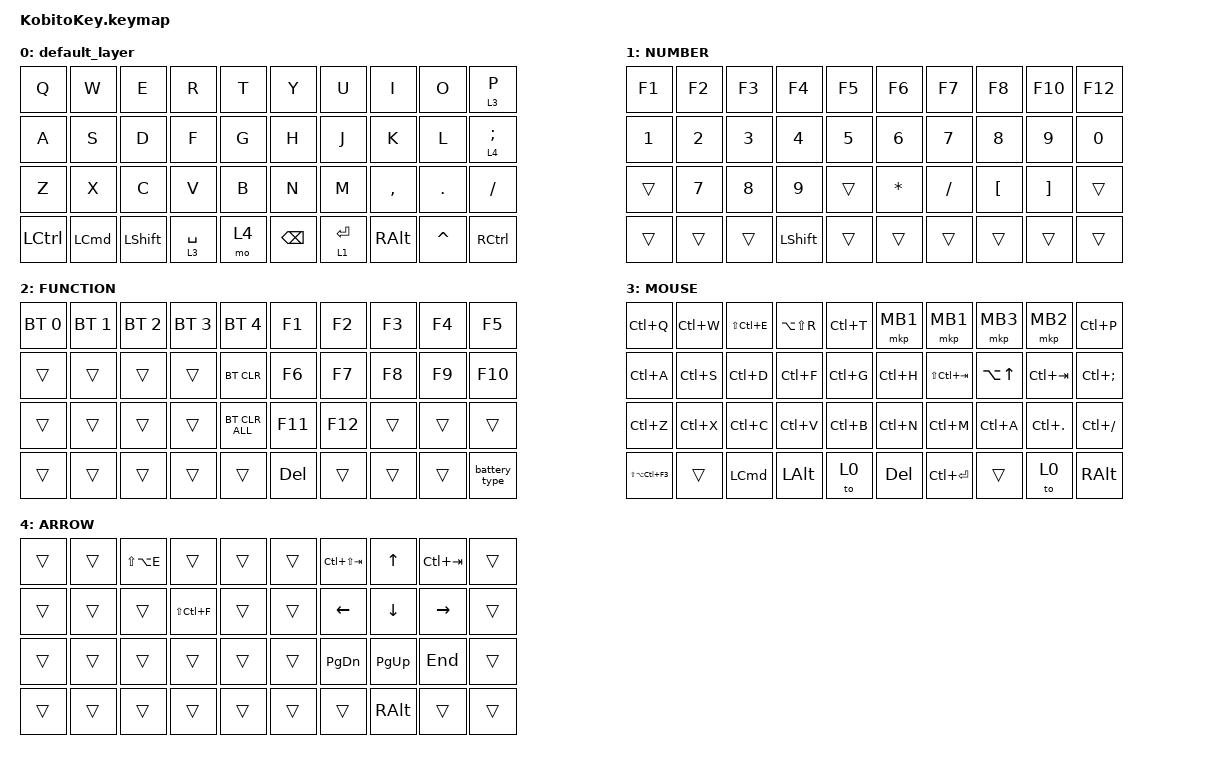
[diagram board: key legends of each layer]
#include <input/processors.dtsi>
#include <behaviors.dtsi>
#include <dt-bindings/zmk/bt.h>
#include <dt-bindings/zmk/keys.h>
#include <dt-bindings/zmk/pointing.h>

// OS設定を日本語キーボードのまま使用するための変換定義

#define JP_DQUOTE       AT                // "
#define JP_AMPERSAND    CARET             // &
#define JP_QUOTE        AMPERSAND         // '
#define JP_EQUAL        UNDER             // =
#define JP_CARET        EQUAL             // ^
#define JP_YEN          0x89              // ¥
#define JP_PLUS         COLON             // +
#define JP_TILDE        PLUS              // ~
#define JP_PIPE         LS(0x89)          // |
#define JP_AT           LEFT_BRACKET      // @
#define JP_COLON        SINGLE_QUOTE      // :
#define JP_ASTERISK     DOUBLE_QUOTES     // *
#define JP_BACKQUOTE    LEFT_BRACE        // `
#define JP_UNDERSCORE   LS(0x87)          // _
#define JP_LBRACKET     RIGHT_BRACKET     // [
#define JP_RBRACKET     BACKSLASH         // ]
#define JP_LPAREN       ASTERISK          // (
#define JP_RPAREN       LEFT_PARENTHESIS  // )
#define JP_LBRACE       RIGHT_BRACE       // {
#define JP_RBRACE       PIPE              // }
#define JP_KANA         LANGUAGE_1        // かな
#define JP_EISU         LANGUAGE_2        // 英数
#define JP_HANZEN       GRAVE             // 半角/全角

/ {
    combos {
        compatible = "zmk,combos";

        combo_eisu {
            timeout-ms = <50>;
            key-positions = <12 13>;
            bindings = <&kp LANG2>;
        };

        comboMinus {
            key-positions = <9 8>;
            bindings = <&kp MINUS>;
        };

        comboNUBS {
            key-positions = <9 8 7>;
            bindings = <&kp JP_YEN>;
        };

        comboApos {
            key-positions = <19 18>;
            bindings = <&kp APOS>;
        };

        comboBackslash {
            key-positions = <29 28>;
            bindings = <&kp INT1>;
        };

        combo_kana {
            timeout-ms = <50>;
            key-positions = <16 17>;
            bindings = <&kp LANG1>;
        };

        combo_esc {
            timeout-ms = <50>;
            key-positions = <0 1>;
            bindings = <&kp ESC>;
        };

        combo_tab {
            timeout-ms = <50>;
            key-positions = <10 11>;
            bindings = <&kp TAB>;
        };

        combo_shift {
            key-positions = <20 21>;
            bindings = <&kp LEFT_SHIFT>;
        };

        combo_ctrl {
            key-positions = <30 31>;
            bindings = <&kp LCTRL>;
        };

        openwindows {
            key-positions = <38 39>;
            bindings = <&kp LC(LA(DEL))>;
        };

        fnlayer {
            key-positions = <20 21 22 23>;
            bindings = <&mo 2>;
        };

        hidarikakko {
            bindings = <&kp JP_LPAREN>;
            key-positions = <13 14>;
        };

        hidarichukakko {
            bindings = <&kp JP_LBRACKET>;
            key-positions = <24 23>;
        };

        migikakko {
            bindings = <&kp JP_RPAREN>;
            key-positions = <15 16>;
        };

        migichukakko {
            bindings = <&kp JP_RBRACKET>;
            key-positions = <25 26>;
        };

        layer1 {
            bindings = <&mo 1>;
            key-positions = <34 33>;
        };

        atmark {
            bindings = <&kp JP_AT>;
            key-positions = <17 18>;
        };

        ctrl_y {
            bindings = <&kp LC(Y)>;
            key-positions = <5 6>;
        };
    };

    behaviors {
        battery_type: battery_type {
            compatible = "zmk,behavior-battery-type";
            #binding-cells = <0>;
        };

        lt_slow: layer_tap_slow {
            compatible = "zmk,behavior-hold-tap";
            label = "LAYER_TAP_SLOW";
            #binding-cells = <2>;
            flavor = "tap-preferred";
            tapping-term-ms = <500>;
            bindings = <&mo>, <&kp>;
        };
    };

    keymap {
        compatible = "zmk,keymap";

        default_layer {
            bindings = <
&kp Q      &kp W     &kp E           &kp R        &kp T  &kp Y     &kp U        &kp I          &kp O      &lt_slow 3 P
&kp A      &kp S     &kp D           &kp F        &kp G  &kp H     &kp J        &kp K          &kp L      &lt_slow 4 SEMI
&kp Z      &kp X     &kp C           &kp V        &kp B  &kp N     &kp M        &kp COMMA      &kp DOT    &kp SLASH
&kp LCTRL  &kp LCMD  &kp LEFT_SHIFT  &lt 3 SPACE  &mo 4  &kp BSPC  &lt 1 ENTER  &kp RIGHT_ALT  &kp CARET  &kp RCTRL
            >;
        };

        layer1 {
            label = "NUMBER";
            bindings = <
&kp F1  &kp F2  &kp F3  &kp F4     &kp F5  &kp F6     &kp F7     &kp F8    &kp F10   &kp F12
&kp N1  &kp N2  &kp N3  &kp N4     &kp N5  &kp N6     &kp N7     &kp N8    &kp N9    &kp N0
&trans  &kp N7  &kp N8  &kp N9     &trans  &kp ASTRK  &kp SLASH  &kp LBKT  &kp RBKT  &trans
&trans  &trans  &trans  &kp LSHFT  &trans  &trans     &trans     &trans    &trans    &trans
            >;
        };

        layer2 {
            label = "FUNCTION";
            bindings = <
&bt BT_SEL 0  &bt BT_SEL 1  &bt BT_SEL 2  &bt BT_SEL 3  &bt BT_SEL 4    &kp F1   &kp F2   &kp F3  &kp F4  &kp F5
&trans        &trans        &trans        &trans        &bt BT_CLR      &kp F6   &kp F7   &kp F8  &kp F9  &kp F10
&trans        &trans        &trans        &trans        &bt BT_CLR_ALL  &kp F11  &kp F12  &trans  &trans  &trans
&trans        &trans        &trans        &trans        &trans          &kp DEL  &trans   &trans  &trans  &battery_type
            >;
        };

        layer3 {
            label = "MOUSE";
            bindings = <
&kp LC(Q)           &kp LC(W)  &kp LS(LC(E))  &kp LA(LS(R))  &kp LC(T)  &mkp MB1    &mkp MB1         &mkp MB3          &mkp MB2        &kp LC(P)
&kp LC(A)           &kp LC(S)  &kp LC(D)      &kp LC(F)      &kp LC(G)  &kp LC(H)   &kp LS(LC(TAB))  &kp LA(UP_ARROW)  &kp LC(TAB)     &kp LC(SEMICOLON)
&kp LC(Z)           &kp LC(X)  &kp LC(C)      &kp LC(V)      &kp LC(B)  &kp LC(N)   &kp LC(M)        &kp LC(A)         &kp LC(PERIOD)  &kp LC(SLASH)
&kp LS(LA(LC(F3)))  &trans     &kp LCMD       &kp LALT       &to 0      &kp DELETE  &kp LC(ENTER)    &trans            &to 0           &kp RALT
            >;
        };

        layer4 {
            label = "ARROW";
            bindings = <
&trans  &trans  &kp LS(LA(E))  &trans         &trans  &trans  &kp LC(LS(TAB))  &kp UP_ARROW    &kp LC(TAB)      &trans
&trans  &trans  &trans         &kp LS(LC(F))  &trans  &trans  &kp LEFT_ARROW   &kp DOWN_ARROW  &kp RIGHT_ARROW  &trans
&trans  &trans  &trans         &trans         &trans  &trans  &kp PAGE_DOWN    &kp PAGE_UP     &kp END          &trans
&trans  &trans  &trans         &trans         &trans  &trans  &trans           &kp RIGHT_ALT   &trans           &trans
            >;
        };
    };
};
